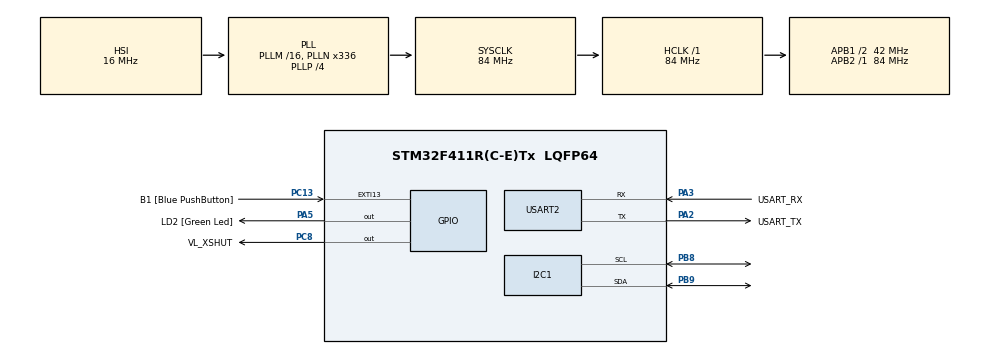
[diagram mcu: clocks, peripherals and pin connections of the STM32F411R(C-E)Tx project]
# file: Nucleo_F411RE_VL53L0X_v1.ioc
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Mcu.Family=STM32F4
PC15-OSC32_OUT.Mode=LSE-External-Oscillator
RCC.CortexFreq_Value=84000000
PC13-ANTI_TAMP.GPIO_Label=B1 [Blue PushButton]
PA14.GPIO_Label=TCK
PH1\ -\ OSC_OUT.Mode=HSE-External-Clock-Source
PC8.Signal=GPIO_Output
RCC.APB1CLKDivider=RCC_HCLK_DIV2
PC14-OSC32_IN.Signal=RCC_OSC32_IN
RCC.SYSCLKSource=RCC_SYSCLKSOURCE_PLLCLK
ProjectManager.StackSize=0x400
PC8.GPIO_Label=VL_XSHUT
PA13.Signal=SYS_JTMS-SWDIO
PA3.Mode=Asynchronous
PH0\ -\ OSC_IN.Mode=HSE-External-Clock-Source
PH0\ -\ OSC_IN.Signal=RCC_OSC_IN
ProjectManager.TargetToolchain=STM32CubeIDE
RCC.HCLKFreq_Value=84000000
PB9.Mode=I2C
RCC.APB2TimFreq_Value=84000000
PC15-OSC32_OUT.Signal=RCC_OSC32_OUT
RCC.AHBFreq_Value=84000000
PA5.Signal=GPIO_Output
RCC.HSE_VALUE=8000000
PH1\ -\ OSC_OUT.Signal=RCC_OSC_OUT
board=NUCLEO-F411RE
PC13-ANTI_TAMP.Signal=GPXTI13
RCC.VCOOutputFreq_Value=336000000
RCC.APB2Freq_Value=84000000
PC14-OSC32_IN.Mode=LSE-External-Oscillator
PA14.Mode=Serial_Wire
PA13.Mode=Serial_Wire
Mcu.Name=STM32F411R(C-E)Tx
PA2.Signal=USART2_TX
PA13.GPIO_Label=TMS
RCC.FLatency-AdvancedSettings=FLASH_LATENCY_2
RCC.48MHZClocksFreq_Value=84000000
PB3.Signal=SYS_JTDO-SWO
RCC.SYSCLKFreq_VALUE=84000000
Mcu.Package=LQFP64
PB9.Signal=I2C1_SDA
PA5.GPIO_Label=LD2 [Green Led]
USART2.VirtualMode=VM_ASYNC
PC13-ANTI_TAMP.GPIO_ModeDefaultEXTI=GPIO_MODE_IT_FALLING
PA2.GPIO_Label=USART_TX
PA14.Signal=SYS_JTCK-SWCLK
ProjectManager.HeapSize=0x200
RCC.HSI_VALUE=16000000
RCC.PLLP=RCC_PLLP_DIV4
NVIC.PriorityGroup=NVIC_PRIORITYGROUP_0
PB8.Mode=I2C
RCC.PLLN=336
RCC.APB1TimFreq_Value=84000000
PA2.Mode=Asynchronous
PB8.Signal=I2C1_SCL
RCC.APB1Freq_Value=42000000
PA3.GPIO_Label=USART_RX
PA3.Signal=USART2_RX
PB3.GPIO_Label=SWO

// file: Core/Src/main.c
/* USER CODE BEGIN Header */
/**
  ******************************************************************************
  * @file           : main.c
  * @brief          : Main program body
  ******************************************************************************
  * @attention
  *
  * <h2><center>&copy; Copyright (c) 2020 STMicroelectronics.
  * All rights reserved.</center></h2>
  *
  * This software component is licensed by ST under BSD 3-Clause license,
  * the "License"; You may not use this file except in compliance with the
  * License. You may obtain a copy of the License at:
  *                        opensource.org/licenses/BSD-3-Clause
  *
  ******************************************************************************
  */
/* USER CODE END Header */

#include "main.h"

/* USER CODE BEGIN Includes */
#include "vl53l0x_class.h"
/* USER CODE END Includes */

I2C_HandleTypeDef hi2c1;

UART_HandleTypeDef huart2;

/* USER CODE BEGIN PV */

uint8_t conv_cplt=0;
uint8_t i,scaner;
VL53L0X_Dev_t sensor1;

HAL_StatusTypeDef result;

// Uncomment ONE of these three lines to get
//#define LONG_RANGE
//#define HIGH_SPEED
#define HIGH_ACCURACY

/* USER CODE END PV */

void SystemClock_Config(void);
static void MX_GPIO_Init(void);
static void MX_I2C1_Init(void);
static void MX_USART2_UART_Init(void);
/* USER CODE BEGIN PFP */

void VL53L0X_Start(VL53L0X_Dev_t *lidar);

/* USER CODE END PFP */

/* USER CODE BEGIN 0 */
#ifdef __GNUC__
/* With GCC, small printf (option LD Linker->Libraries->Small printf
     set to 'Yes') calls __io_putchar() */
#define PUTCHAR_PROTOTYPE int __io_putchar(int ch)
#else
#define PUTCHAR_PROTOTYPE int fputc(int ch, FILE *f)
#endif /* __GNUC__ */

/* Private functions ---------------------------------------------------------*/
/**
 * @brief  Retargets the C library printf function to the USART.
 * @param  None
 * @retval None
 */
PUTCHAR_PROTOTYPE
{
	/* Place your implementation of fputc here */
	/* e.g. write a character to the EVAL_COM1 and Loop until the end of transmission */
	HAL_UART_Transmit(&huart2, (uint8_t *)&ch, 1, 0xFFFF);

	return ch;
}

/* round robin lowband fir filter */
#define NBSAMPLES 16

uint16_t rr_fir_filter0(uint16_t newsample) {
	static uint16_t samples[NBSAMPLES];
	static uint16_t numsample=0;
	static uint16_t slidingsum=0;
	slidingsum-= samples[numsample];
	samples[numsample]= newsample;
	slidingsum+= samples[numsample];
	numsample++;
	numsample%=NBSAMPLES;
	return slidingsum/NBSAMPLES;
}

uint16_t rr_fir_filter(uint8_t ch, uint16_t newsample) {
	if (ch>2) return 0;
	static uint16_t samples[2][NBSAMPLES]={0};
	static uint16_t numsample=0;
	static uint16_t slidingsum[2]={0};
	slidingsum[ch] -= samples[ch][numsample];
	samples[ch][numsample]= newsample;
	slidingsum[ch]+= samples[ch][numsample];
	numsample++;
	numsample%=NBSAMPLES;
	return slidingsum[ch]/NBSAMPLES;
}

/* USER CODE END 0 */

int main(void)
{

  /* MCU Configuration--------------------------------------------------------*/

  /* Reset of all peripherals, Initializes the Flash interface and the Systick. */
  HAL_Init();

  /* Configure the system clock */
  SystemClock_Config();

  /* Initialize all configured peripherals */
  MX_GPIO_Init();
  MX_I2C1_Init();
  MX_USART2_UART_Init();
  /* USER CODE BEGIN 2 */

	printf("Start ...\r\n");
	VL53L0X_Start(&sensor1);

  /* USER CODE END 2 */

  /* Infinite loop */
  while (1)
  {

    /* USER CODE BEGIN 3 */
		uint32_t distance;
		int status=VL53L0X_GetDistance(&sensor1, &distance);
		printf("Status %d Read value: %lu\r\n",status, distance);
  }
  /* USER CODE END 3 */
}

void SystemClock_Config(void)
{
  RCC_OscInitTypeDef RCC_OscInitStruct = {0};
  RCC_ClkInitTypeDef RCC_ClkInitStruct = {0};

  /** Configure the main internal regulator output voltage
  */
  __HAL_RCC_PWR_CLK_ENABLE();
  __HAL_PWR_VOLTAGESCALING_CONFIG(PWR_REGULATOR_VOLTAGE_SCALE1);
  /** Initializes the CPU, AHB and APB busses clocks
  */
  RCC_OscInitStruct.OscillatorType = RCC_OSCILLATORTYPE_HSI;
  RCC_OscInitStruct.HSIState = RCC_HSI_ON;
  RCC_OscInitStruct.HSICalibrationValue = RCC_HSICALIBRATION_DEFAULT;
  RCC_OscInitStruct.PLL.PLLState = RCC_PLL_ON;
  RCC_OscInitStruct.PLL.PLLSource = RCC_PLLSOURCE_HSI;
  RCC_OscInitStruct.PLL.PLLM = 16;
  RCC_OscInitStruct.PLL.PLLN = 336;
  RCC_OscInitStruct.PLL.PLLP = RCC_PLLP_DIV4;
  RCC_OscInitStruct.PLL.PLLQ = 4;
  if (HAL_RCC_OscConfig(&RCC_OscInitStruct) != HAL_OK)
  {
    Error_Handler();
  }
  /** Initializes the CPU, AHB and APB busses clocks
  */
  RCC_ClkInitStruct.ClockType = RCC_CLOCKTYPE_HCLK|RCC_CLOCKTYPE_SYSCLK
                              |RCC_CLOCKTYPE_PCLK1|RCC_CLOCKTYPE_PCLK2;
  RCC_ClkInitStruct.SYSCLKSource = RCC_SYSCLKSOURCE_PLLCLK;
  RCC_ClkInitStruct.AHBCLKDivider = RCC_SYSCLK_DIV1;
  RCC_ClkInitStruct.APB1CLKDivider = RCC_HCLK_DIV2;
  RCC_ClkInitStruct.APB2CLKDivider = RCC_HCLK_DIV1;

  if (HAL_RCC_ClockConfig(&RCC_ClkInitStruct, FLASH_LATENCY_2) != HAL_OK)
  {
    Error_Handler();
  }
}

static void MX_I2C1_Init(void)
{

  hi2c1.Instance = I2C1;
  hi2c1.Init.ClockSpeed = 100000;
  hi2c1.Init.DutyCycle = I2C_DUTYCYCLE_2;
  hi2c1.Init.OwnAddress1 = 0;
  hi2c1.Init.AddressingMode = I2C_ADDRESSINGMODE_7BIT;
  hi2c1.Init.DualAddressMode = I2C_DUALADDRESS_DISABLE;
  hi2c1.Init.OwnAddress2 = 0;
  hi2c1.Init.GeneralCallMode = I2C_GENERALCALL_DISABLE;
  hi2c1.Init.NoStretchMode = I2C_NOSTRETCH_DISABLE;
  if (HAL_I2C_Init(&hi2c1) != HAL_OK)
  {
    Error_Handler();
  }

}

static void MX_USART2_UART_Init(void)
{

  huart2.Instance = USART2;
  huart2.Init.BaudRate = 115200;
  huart2.Init.WordLength = UART_WORDLENGTH_8B;
  huart2.Init.StopBits = UART_STOPBITS_1;
  huart2.Init.Parity = UART_PARITY_NONE;
  huart2.Init.Mode = UART_MODE_TX_RX;
  huart2.Init.HwFlowCtl = UART_HWCONTROL_NONE;
  huart2.Init.OverSampling = UART_OVERSAMPLING_16;
  if (HAL_UART_Init(&huart2) != HAL_OK)
  {
    Error_Handler();
  }

}

static void MX_GPIO_Init(void)
{
  GPIO_InitTypeDef GPIO_InitStruct = {0};

  /* GPIO Ports Clock Enable */
  __HAL_RCC_GPIOC_CLK_ENABLE();
  __HAL_RCC_GPIOH_CLK_ENABLE();
  __HAL_RCC_GPIOA_CLK_ENABLE();
  __HAL_RCC_GPIOB_CLK_ENABLE();

  /*Configure GPIO pin Output Level */
  HAL_GPIO_WritePin(LD2_GPIO_Port, LD2_Pin, GPIO_PIN_RESET);

  /*Configure GPIO pin Output Level */
  HAL_GPIO_WritePin(VL_XSHUT_GPIO_Port, VL_XSHUT_Pin, GPIO_PIN_RESET);

  /*Configure GPIO pin : B1_Pin */
  GPIO_InitStruct.Pin = B1_Pin;
  GPIO_InitStruct.Mode = GPIO_MODE_IT_FALLING;
  GPIO_InitStruct.Pull = GPIO_NOPULL;
  HAL_GPIO_Init(B1_GPIO_Port, &GPIO_InitStruct);

  /*Configure GPIO pin : LD2_Pin */
  GPIO_InitStruct.Pin = LD2_Pin;
  GPIO_InitStruct.Mode = GPIO_MODE_OUTPUT_PP;
  GPIO_InitStruct.Pull = GPIO_NOPULL;
  GPIO_InitStruct.Speed = GPIO_SPEED_FREQ_LOW;
  HAL_GPIO_Init(LD2_GPIO_Port, &GPIO_InitStruct);

  /*Configure GPIO pin : VL_XSHUT_Pin */
  GPIO_InitStruct.Pin = VL_XSHUT_Pin;
  GPIO_InitStruct.Mode = GPIO_MODE_OUTPUT_PP;
  GPIO_InitStruct.Pull = GPIO_NOPULL;
  GPIO_InitStruct.Speed = GPIO_SPEED_FREQ_LOW;
  HAL_GPIO_Init(VL_XSHUT_GPIO_Port, &GPIO_InitStruct);

}

/* USER CODE BEGIN 4 */
/**
 * @brief  This function is executed in case of error occurrence.
 * @retval None
 */
void _Error_Handler(char *file, int line)
{
	/* USER CODE BEGIN Error_Handler_Debug */
	char msg[256];
	sprintf(msg,"%s,%d", file,line);
	/* User can add his own implementation to report the HAL error return state */
	while(1)
	{
	}
	/* USER CODE END Error_Handler_Debug */
}

void VL53L0X_Start(VL53L0X_Dev_t *lidar){
	lidar->I2cDevAddr=0x29; // ADDRESS_DEFAULT;
	lidar->comms_type=1;    // VL53L0X_COMMS_I2C
	lidar->comms_speed_khz=100;

	HAL_GPIO_WritePin(VL_XSHUT_GPIO_Port, VL_XSHUT_Pin, GPIO_PIN_RESET); //shut down the VL53L0X sensor.
	HAL_Delay(100); //100

	HAL_GPIO_WritePin(VL_XSHUT_GPIO_Port, VL_XSHUT_Pin, GPIO_PIN_SET); //start up the sensor.
	HAL_Delay(100);  //24

	if(!VL53L0X_InitSensor(lidar, VL53L0x_DEFAULT_DEVICE_ADDRESS)) //attempt to initialise it with the necessary settings for normal operation. Returns 0 if fail, 1 if success.
	{
		printf("Failed to initialize\r\n");
	}
	else
	{
		printf("Successfully initialized\r\n");
	}
}

/* USER CODE END 4 */

void Error_Handler(void)
{
	while(1)
	{
	}
}

/************************ (C) COPYRIGHT STMicroelectronics *****END OF FILE****/
